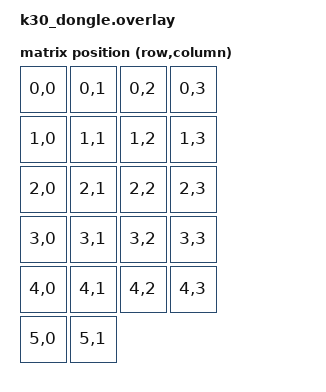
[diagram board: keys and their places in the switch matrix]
/*
 * Copyright (c) 2020 The ZMK Contributors
 *
 * SPDX-License-Identifier: MIT
 */
#include <dt-bindings/zmk/matrix_transform.h>
#include <dt-bindings/pinctrl/nrf-pinctrl.h>

/ {
	chosen {
		zmk,kscan = &mock_kscan;
		zmk,matrix_transform = &default_transform;
		zephyr,display = &oled;
	};

	mock_kscan: mock_kscan_0 {
		compatible = "zmk,kscan-mock";
		columns = <4>;
		rows = <6>;
		events = <22>;
	};

	default_transform: keymap_transform_0 {
		compatible = "zmk,matrix-transform";
		columns = <4>;
		rows = <6>;
		map = <
		RC(0,0) RC(0,1) RC(0,2) RC(0,3)
		RC(1,0) RC(1,1) RC(1,2) RC(1,3)
		RC(2,0) RC(2,1) RC(2,2) RC(2,3)
		RC(3,0) RC(3,1) RC(3,2) RC(3,3)
		RC(4,0) RC(4,1) RC(4,2) RC(4,3)
		RC(5,0) RC(5,1)
		>;
	};
};

&i2c0_default {
	group1 {
		psels = <NRF_PSEL(TWI_SDA, 0, 20)>,
			<NRF_PSEL(TWI_SCL, 0, 17)>;
		bias-pull-up;
	};
};

&i2c0_sleep {
	group1 {
		psels = <NRF_PSEL(TWI_SDA, 0, 20)>,
			<NRF_PSEL(TWI_SCL, 0, 17)>;
		low-power-enable;
	};
};

&i2c0 {
	status = "okay";
	pinctrl-0 = <&i2c0_default>;
	pinctrl-1 = <&i2c0_sleep>;

	oled: ssd1306@3c {
		compatible = "solomon,ssd1306fb";
		reg = <0x3c>;
		width = <128>;
		height = <32>;
		segment-offset = <0>;
		page-offset = <0>;
		display-offset = <0>;
		multiplex-ratio = <31>;
		segment-remap;
		com-invdir;
		com-sequential;
		inversion-on;
		prechargep = <0x22>;
	};
};
